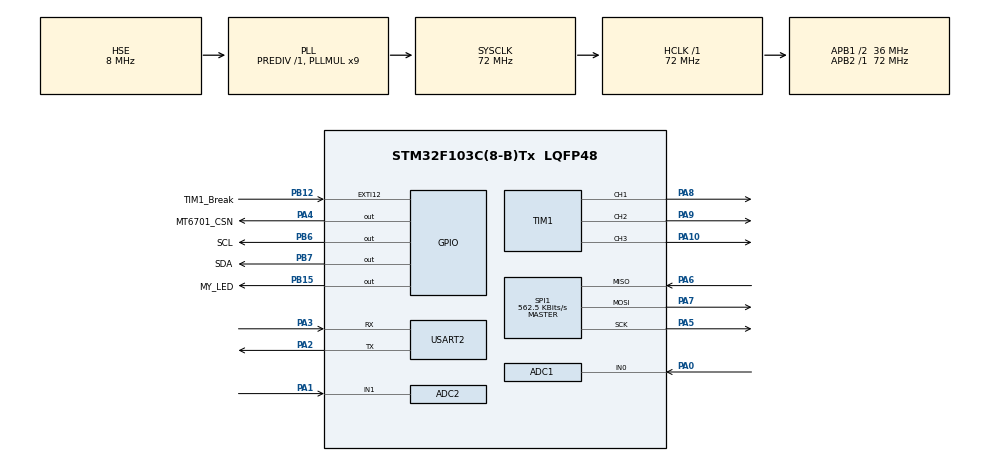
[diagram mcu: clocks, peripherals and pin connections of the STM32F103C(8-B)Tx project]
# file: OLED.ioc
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ADC1.Channel-1\#ChannelInjectedConversion=ADC_CHANNEL_0
ADC1.ContinuousConvMode=ENABLE
ADC1.EnableInjectedConversion=ENABLE
ADC1.EnableRegularConversion=DISABLE
ADC1.ExternalTrigInjecConv=ADC_EXTERNALTRIGINJECCONV_T1_TRGO
ADC1.InjNumberOfConversion=1
ADC1.InjectedOffset-1\#ChannelInjectedConversion=0
ADC1.InjectedRank-1\#ChannelInjectedConversion=1
ADC1.Mode=ADC_DUALMODE_INJECSIMULT
ADC1.SamplingTime-1\#ChannelInjectedConversion=ADC_SAMPLETIME_7CYCLES_5
ADC1.master=1
ADC2.Channel-1\#ChannelInjectedConversion=ADC_CHANNEL_1
ADC2.ContinuousConvMode=ENABLE
ADC2.EnableInjectedConversion=ENABLE
ADC2.EnableRegularConversion=DISABLE
ADC2.InjNumberOfConversion=1
ADC2.InjectedOffset-1\#ChannelInjectedConversion=0
ADC2.InjectedRank-1\#ChannelInjectedConversion=1
ADC2.Mode=ADC_DUALMODE_INJECSIMULT
ADC2.SamplingTime-1\#ChannelInjectedConversion=ADC_SAMPLETIME_7CYCLES_5
Dma.Request0=SPI1_RX
Dma.Request1=SPI1_TX
Dma.SPI1_RX.0.Direction=DMA_PERIPH_TO_MEMORY
Dma.SPI1_RX.0.Instance=DMA1_Channel2
Dma.SPI1_RX.0.MemDataAlignment=DMA_MDATAALIGN_BYTE
Dma.SPI1_RX.0.MemInc=DMA_MINC_ENABLE
Dma.SPI1_RX.0.Mode=DMA_NORMAL
Dma.SPI1_RX.0.PeriphDataAlignment=DMA_PDATAALIGN_BYTE
Dma.SPI1_RX.0.PeriphInc=DMA_PINC_DISABLE
Dma.SPI1_RX.0.Priority=DMA_PRIORITY_LOW
Dma.SPI1_TX.1.Direction=DMA_MEMORY_TO_PERIPH
Dma.SPI1_TX.1.Instance=DMA1_Channel3
Dma.SPI1_TX.1.MemDataAlignment=DMA_MDATAALIGN_BYTE
Dma.SPI1_TX.1.MemInc=DMA_MINC_ENABLE
Dma.SPI1_TX.1.Mode=DMA_NORMAL
Dma.SPI1_TX.1.PeriphDataAlignment=DMA_PDATAALIGN_BYTE
Dma.SPI1_TX.1.PeriphInc=DMA_PINC_DISABLE
Dma.SPI1_TX.1.Priority=DMA_PRIORITY_LOW
Mcu.Family=STM32F1
Mcu.Name=STM32F103C(8-B)Tx
Mcu.Package=LQFP48
Mcu.UserConstants=speed_calc_freq,motor_speed_calc_freq;pwm_freq,motor_pwm_freq
NVIC.ADC1_2_IRQn=true\:1\:0\:true\:false\:true\:true\:true\:true
NVIC.DMA1_Channel2_IRQn=true\:0\:0\:false\:false\:true\:false\:true\:true
NVIC.DMA1_Channel3_IRQn=true\:0\:0\:false\:false\:true\:false\:true\:true
NVIC.EXTI15_10_IRQn=true\:3\:0\:true\:false\:true\:true\:true\:true
NVIC.PriorityGroup=NVIC_PRIORITYGROUP_4
NVIC.TIM3_IRQn=true\:1\:0\:true\:false\:true\:true\:true\:true
NVIC.USART2_IRQn=true\:0\:0\:true\:false\:true\:true\:true\:true
PA0-WKUP.Signal=ADCx_IN0
PA1.Signal=ADCx_IN1
PA10.Signal=S_TIM1_CH3
PA13.Mode=Serial_Wire
PA13.Signal=SYS_JTMS-SWDIO
PA14.Mode=Serial_Wire
PA14.Signal=SYS_JTCK-SWCLK
PA2.Mode=Asynchronous
PA2.Signal=USART2_TX
PA3.Mode=Asynchronous
PA3.Signal=USART2_RX
PA4.GPIO_Label=MT6701_CSN
PA4.Signal=GPIO_Output
PA5.Mode=Full_Duplex_Master
PA5.Signal=SPI1_SCK
PA6.Mode=Full_Duplex_Master
PA6.Signal=SPI1_MISO
PA7.Mode=Full_Duplex_Master
PA7.Signal=SPI1_MOSI
PA8.Signal=S_TIM1_CH1
PA9.Signal=S_TIM1_CH2
PB12.GPIO_Label=TIM1_Break
PB12.Signal=GPXTI12
PB15.GPIO_Label=MY_LED
PB15.Signal=GPIO_Output
PB6.GPIO_Label=SCL
PB6.GPIO_PuPd=GPIO_PULLUP
PB6.Signal=GPIO_Output
PB7.GPIO_Label=SDA
PB7.Signal=GPIO_Output
PC14-OSC32_IN.Mode=LSE-External-Oscillator
PC14-OSC32_IN.Signal=RCC_OSC32_IN
PC15-OSC32_OUT.Mode=LSE-External-Oscillator
PC15-OSC32_OUT.Signal=RCC_OSC32_OUT
PD0-OSC_IN.Mode=HSE-External-Oscillator
PD0-OSC_IN.Signal=RCC_OSC_IN
PD1-OSC_OUT.Mode=HSE-External-Oscillator
PD1-OSC_OUT.Signal=RCC_OSC_OUT
ProjectManager.HeapSize=0x200
ProjectManager.StackSize=0x400
ProjectManager.TargetToolchain=MDK-ARM V5.32
RCC.ADCPresc=RCC_ADCPCLK2_DIV6
RCC.AHBFreq_Value=72000000
RCC.APB1CLKDivider=RCC_HCLK_DIV2
RCC.APB1Freq_Value=36000000
RCC.APB1TimFreq_Value=72000000
RCC.APB2Freq_Value=72000000
RCC.APB2TimFreq_Value=72000000
RCC.HCLKFreq_Value=72000000
RCC.PLLMUL=RCC_PLL_MUL9
RCC.PLLSourceVirtual=RCC_PLLSOURCE_HSE
RCC.SYSCLKFreq_VALUE=72000000
RCC.SYSCLKSource=RCC_SYSCLKSOURCE_PLLCLK
RCC.USBFreq_Value=72000000
SH.ADCx_IN0.0=ADC1_IN0,IN0
SH.ADCx_IN1.0=ADC2_IN1,IN1
SH.S_TIM1_CH1.0=TIM1_CH1,PWM Generation1 CH1
SH.S_TIM1_CH2.0=TIM1_CH2,PWM Generation2 CH2
SH.S_TIM1_CH3.0=TIM1_CH3,PWM Generation3 CH3
SPI1.BaudRatePrescaler=SPI_BAUDRATEPRESCALER_128
SPI1.CLKPhase=SPI_PHASE_2EDGE
SPI1.CalculateBaudRate=562.5 KBits/s
SPI1.Direction=SPI_DIRECTION_2LINES
SPI1.Mode=SPI_MODE_MASTER
SPI1.VirtualType=VM_MASTER
STMicroelectronics.X-CUBE-ALGOBUILD.1.5.0.LibraryCcDSPOoLibraryJjDSPOoLibrary=true
TIM1.AutoReloadPreload=TIM_AUTORELOAD_PRELOAD_ENABLE
TIM1.BreakPolarity=TIM_BREAKPOLARITY_LOW
TIM1.Channel-PWM\ Generation1\ CH1=TIM_CHANNEL_1
TIM1.Channel-PWM\ Generation2\ CH2=TIM_CHANNEL_2
TIM1.Channel-PWM\ Generation3\ CH3=TIM_CHANNEL_3
TIM1.CounterMode=TIM_COUNTERMODE_CENTERALIGNED3
TIM1.LockLevel=TIM_LOCKLEVEL_1
TIM1.MasterOutputTrigger=TIM_TRGO_UPDATE
TIM1.Period=(72*1000000 / (2 * pwm_freq)) - 1
TIM1.RepetitionCounter=9
TIM1.TIM_MasterOutputTrigger=TIM_TRGO_UPDATE
TIM3.Period=1000000/speed_calc_freq
TIM3.Prescaler=72-1
USART2.VirtualMode=VM_ASYNC
VP_STMicroelectronics.X-CUBE-ALGOBUILD_VS_DSPOoLibraryJjLibrary_1.5.0_1.5.0.Mode=DSPOoLibraryJjLibrary
VP_TIM1_VS_ClockSourceINT.Mode=Internal
VP_TIM3_VS_ClockSourceINT.Mode=Internal
board=custom

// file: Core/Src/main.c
/* USER CODE BEGIN Header */
/**
  ******************************************************************************
  * @file           : main.c
  * @brief          : Main program body
  ******************************************************************************
  * @attention
  *
  * Copyright (c) 2024 STMicroelectronics.
  * All rights reserved.
  *
  * This software is licensed under terms that can be found in the LICENSE file
  * in the root directory of this software component.
  * If no LICENSE file comes with this software, it is provided AS-IS.
  *
  ******************************************************************************
  */
/* USER CODE END Header */
#include "main.h"
#include "adc.h"
#include "dma.h"
#include "spi.h"
#include "tim.h"
#include "usart.h"
#include "gpio.h"

/* USER CODE BEGIN Includes */
#include "foc_config.h"
#include "motor_hw.h"
#include "motor_control.h"
#include "motor_tune_link.h"
#include "mt6701.h"
/* USER CODE END Includes */

void SystemClock_Config(void);

/* USER CODE BEGIN 0 */
typedef enum
{
  MAIN_STATE_BOOT = 0, /* 外设启动、校零和转子对齐阶段 */
  MAIN_STATE_READY,    /* PWM关闭，等待有效控制命令 */
  MAIN_STATE_RUNNING,  /* 位置阶跃执行中 */
  MAIN_STATE_FAULT     /* 本次启动发生故障，禁止再次启动 */
} MainState_t;

/* 应用层管理位置调参试验；位置/速度/电流PI状态由MotorControl持有。 */
static MainState_t s_main_state = MAIN_STATE_BOOT;
static uint32_t s_trial_start_ms;     /* 本次试验起始tick，单位ms */
static uint32_t s_trial_duration_ms;  /* 本次试验时长，单位ms */
static uint32_t s_last_data_ms;       /* 上一帧遥测发送tick，单位ms */

/*
*********************************************************************************************************
*   函 数 名: Main_Stop
*   功能说明: 统一停止当前控制并关闭PWM，供STOP、故障和试验结束路径复用
*   返 回 值: 无
*********************************************************************************************************
*/
static void Main_Stop(void)
{
  MotorControl_Disable();
  MotorHw_StopPwm();
}

/*
*********************************************************************************************************
*   函 数 名: Main_ProcessCommand
*   功能说明: 执行已解析的串口命令；负责应用状态、限值检查及控制/硬件启停顺序
*   形    参: command - 已解析的命令；RUN_STEP目标单位为度，PID增益沿用内部rad单位
*   返 回 值: 无；命令被接受时发送OK，不接受的命令不回复
*********************************************************************************************************
*/
static void Main_ProcessCommand(const MotorTuneCommand_t *command)
{
  if (command->type == MOTOR_TUNE_PING)
  {
    MotorTuneLink_SendOk();
    return;
  }
  if (command->type == MOTOR_TUNE_STOP)
  {
    Main_Stop();
    /* STOP不清除上电初始化故障或控制层锁存故障。 */
    if (MotorControl_IsFaulted()) s_main_state = MAIN_STATE_FAULT;
    else if (s_main_state != MAIN_STATE_FAULT) s_main_state = MAIN_STATE_READY;
    MotorTuneLink_SendOk();
    return;
  }
  if (s_main_state != MAIN_STATE_READY) return;

  if (command->type == MOTOR_TUNE_SET_PID)
  {
    /* 串口调节位置PI；速度及电流内环使用已固定的配置参数。 */
    if (MotorControl_SetPid(MOTOR_CONTROL_PID_POSITION,
                            command->value_a, command->value_b, command->value_c))
      MotorTuneLink_SendOk();
    return;
  }
  if (command->type != MOTOR_TUNE_RUN_STEP) return;
  /* 串口目标范围为[-360,360]度；反馈连续累计，提交控制层时换算为rad。 */
  if (!(command->value_a >= -360.0f && command->value_a <= 360.0f) ||
      (command->duration_ms == 0U) ||
      (command->duration_ms > MOTOR_SPEED_TRIAL_MAX_MS))
  {
    return;
  }

  if (!MotorHw_StartPwm())
  {
    Main_Stop();
    return;
  }
  /* Enable先以当前位置作为保持目标；随后提交串口位置目标，避免阶跃被覆盖。 */
  if (!MotorControl_Enable() ||
      !MotorControl_SetPositionTargetRad(FOC_DegToRad(command->value_a)))
  {
    Main_Stop();
    if (MotorControl_IsFaulted()) s_main_state = MAIN_STATE_FAULT;
    return;
  }
  s_trial_duration_ms = command->duration_ms;
  s_trial_start_ms = HAL_GetTick();
  s_last_data_ms = s_trial_start_ms;
  s_main_state = MAIN_STATE_RUNNING;
  MotorTuneLink_SendOk();
}

/*
*********************************************************************************************************
*   函 数 名: Main_PollCommand
*   功能说明: 在主循环中取出一条完整串口命令并交给应用状态机
*   返 回 值: 无
*********************************************************************************************************
*/
static void Main_PollCommand(void)
{
  MotorTuneCommand_t command;
  if (MotorTuneLink_ReadCommand(&command)) Main_ProcessCommand(&command);
}

/*
*********************************************************************************************************
*   函 数 名: Main_UpdateTrial
*   功能说明: 位置阶跃到时或控制故障时立即禁用控制并关闭PWM
*   返 回 值: 无
*********************************************************************************************************
*/
static void Main_UpdateTrial(void)
{
  uint32_t now = HAL_GetTick();
  if (MotorControl_IsFaulted())
  {
    Main_Stop();
    s_main_state = MAIN_STATE_FAULT;
    return;
  }
  if ((s_main_state == MAIN_STATE_RUNNING) &&
      ((uint32_t)(now - s_trial_start_ms) >= s_trial_duration_ms))
  {
    /* 到时直接切断驱动，不以目标归零代替停机；转子可能继续惯性滑行。 */
    Main_Stop();
    s_main_state = MAIN_STATE_READY;
  }
}

/*
*********************************************************************************************************
*   函 数 名: Main_SendDataIfDue
*   功能说明: 位置试验期间每10ms发送机械位置目标与反馈，串口单位为度
*   返 回 值: 无
*********************************************************************************************************
*/
static void Main_SendDataIfDue(void)
{
  uint32_t now = HAL_GetTick();
  float target_rad;
  float feedback_rad;

  if (s_main_state != MAIN_STATE_RUNNING) return;
  if ((uint32_t)(now - s_last_data_ms) < 10U) return;
  s_last_data_ms = now;
  if (!MotorControl_GetPositionTargetRad(&target_rad) ||
      !MotorControl_GetMechanicalPositionRad(&feedback_rad)) return;
  MotorTuneLink_SendData(now - s_trial_start_ms,
                         FOC_RadToDeg(target_rad), FOC_RadToDeg(feedback_rad));
}

/*
*********************************************************************************************************
*   函 数 名: Main_InitMotor
*   功能说明: 启动采样、等待电流零偏校准并施加一次固定电压对齐
*   返 回 值: 无；结束时进入READY或FAULT，PWM保持关闭
*********************************************************************************************************
*/
static void Main_InitMotor(void)
{
  uint32_t start_ms;
  float angle_rad;
  FocPhaseDuty_t duty;

  if (!MotorHw_Init())
  {
    s_main_state = MAIN_STATE_FAULT;
    return;
  }
  start_ms = HAL_GetTick();
  while (!MotorControl_IsCurrentReady() &&
         !MotorControl_IsFaulted() &&
         (uint32_t)(HAL_GetTick() - start_ms) < 1000U)
  {
  }
  if (!MotorControl_IsCurrentReady() || MotorControl_IsFaulted() ||
      !FocSvpwm_ComputeDuty(0.0f, 0.5f, 0.0f, &duty) || !MotorHw_StartPwm())
  {
    MotorHw_StopPwm();
    s_main_state = MAIN_STATE_FAULT;
    return;
  }
  MotorHw_SetPhaseDuty(duty.duty_u, duty.duty_v, duty.duty_w);
  HAL_Delay(400U); /* 仅上电对齐使用；绝不放入中断。 */
  MotorHw_StopPwm();
  if (!MT6701_GetMechanicalAngleRad(&angle_rad) ||
      !MotorControl_SetElectricalZeroAngle(angle_rad))
  {
    s_main_state = MAIN_STATE_FAULT;
    return;
  }
  s_main_state = MAIN_STATE_READY;
}
/* USER CODE END 0 */

int main(void)
{
  /* MCU Configuration--------------------------------------------------------*/

  /* Reset of all peripherals, Initializes the Flash interface and the Systick. */
  HAL_Init();

  /* Configure the system clock */
  SystemClock_Config();

  /* Initialize all configured peripherals */
  MX_GPIO_Init();
  MX_DMA_Init();
  MX_SPI1_Init();
  MX_USART2_UART_Init();
  MX_ADC1_Init();
  MX_ADC2_Init();
  MX_TIM1_Init();
  MX_TIM3_Init();
  /* USER CODE BEGIN 2 */
  MT6701_Init();
  if (!MotorControl_Init(MOTOR_CONTROL_MODE_POSITION) || !MotorTuneLink_Init())
  {
    Error_Handler();
  }
  Main_InitMotor(); /* 校零、转子对齐一次，成功后保持PWM关闭并等待命令。 */
  /* USER CODE END 2 */

  /* Infinite loop */
  while (1)
  {

    /* USER CODE BEGIN 3 */
    Main_PollCommand();
    Main_UpdateTrial();
    Main_SendDataIfDue();
  }
  /* USER CODE END 3 */
}

void SystemClock_Config(void)
{
  RCC_OscInitTypeDef RCC_OscInitStruct = {0};
  RCC_ClkInitTypeDef RCC_ClkInitStruct = {0};
  RCC_PeriphCLKInitTypeDef PeriphClkInit = {0};

  /** Initializes the RCC Oscillators according to the specified parameters
  * in the RCC_OscInitTypeDef structure.
  */
  RCC_OscInitStruct.OscillatorType = RCC_OSCILLATORTYPE_HSE;
  RCC_OscInitStruct.HSEState = RCC_HSE_ON;
  RCC_OscInitStruct.HSEPredivValue = RCC_HSE_PREDIV_DIV1;
  RCC_OscInitStruct.HSIState = RCC_HSI_ON;
  RCC_OscInitStruct.PLL.PLLState = RCC_PLL_ON;
  RCC_OscInitStruct.PLL.PLLSource = RCC_PLLSOURCE_HSE;
  RCC_OscInitStruct.PLL.PLLMUL = RCC_PLL_MUL9;
  if (HAL_RCC_OscConfig(&RCC_OscInitStruct) != HAL_OK)
  {
    Error_Handler();
  }

  /** Initializes the CPU, AHB and APB buses clocks
  */
  RCC_ClkInitStruct.ClockType = RCC_CLOCKTYPE_HCLK|RCC_CLOCKTYPE_SYSCLK
                              |RCC_CLOCKTYPE_PCLK1|RCC_CLOCKTYPE_PCLK2;
  RCC_ClkInitStruct.SYSCLKSource = RCC_SYSCLKSOURCE_PLLCLK;
  RCC_ClkInitStruct.AHBCLKDivider = RCC_SYSCLK_DIV1;
  RCC_ClkInitStruct.APB1CLKDivider = RCC_HCLK_DIV2;
  RCC_ClkInitStruct.APB2CLKDivider = RCC_HCLK_DIV1;

  if (HAL_RCC_ClockConfig(&RCC_ClkInitStruct, FLASH_LATENCY_2) != HAL_OK)
  {
    Error_Handler();
  }
  PeriphClkInit.PeriphClockSelection = RCC_PERIPHCLK_ADC;
  PeriphClkInit.AdcClockSelection = RCC_ADCPCLK2_DIV6;
  if (HAL_RCCEx_PeriphCLKConfig(&PeriphClkInit) != HAL_OK)
  {
    Error_Handler();
  }
}

void Error_Handler(void)
{
  __disable_irq();
  while (1)
  {
  }
}
